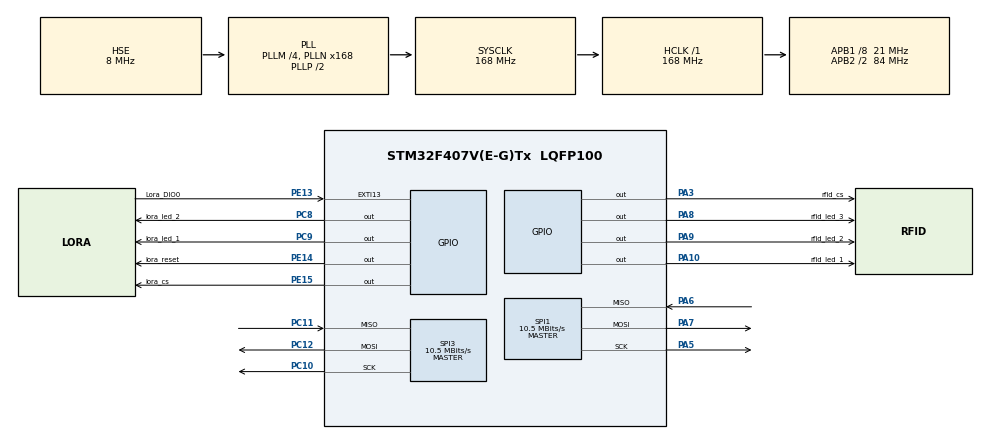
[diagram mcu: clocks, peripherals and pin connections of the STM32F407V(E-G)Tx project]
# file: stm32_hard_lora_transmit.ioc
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Mcu.Family=STM32F4
Mcu.Name=STM32F407V(E-G)Tx
Mcu.Package=LQFP100
NVIC.PriorityGroup=NVIC_PRIORITYGROUP_0
NVIC.TIM2_IRQn=true\:0\:0\:false\:false\:true\:true\:true
PA10.GPIO_Label=rfid_led_1
PA10.Signal=GPIO_Output
PA13.Mode=Serial_Wire
PA13.Signal=SYS_JTMS-SWDIO
PA14.Mode=Serial_Wire
PA14.Signal=SYS_JTCK-SWCLK
PA3.GPIO_Label=rfid_cs
PA3.Signal=GPIO_Output
PA5.Mode=Full_Duplex_Master
PA5.Signal=SPI1_SCK
PA6.Mode=Full_Duplex_Master
PA6.Signal=SPI1_MISO
PA7.Mode=Full_Duplex_Master
PA7.Signal=SPI1_MOSI
PA8.GPIO_Label=rfid_led_3
PA8.Signal=GPIO_Output
PA9.GPIO_Label=rfid_led_2
PA9.Signal=GPIO_Output
PC10.Mode=Full_Duplex_Master
PC10.Signal=SPI3_SCK
PC11.Mode=Full_Duplex_Master
PC11.Signal=SPI3_MISO
PC12.Mode=Full_Duplex_Master
PC12.Signal=SPI3_MOSI
PC14-OSC32_IN.Mode=LSE-External-Clock-Source
PC14-OSC32_IN.Signal=RCC_OSC32_IN
PC15-OSC32_OUT.Mode=LSE-External-Clock-Source
PC15-OSC32_OUT.Signal=RCC_OSC32_OUT
PC8.GPIO_Label=lora_led_2
PC8.Signal=GPIO_Output
PC9.GPIO_Label=lora_led_1
PC9.Signal=GPIO_Output
PE13.GPIO_Label=Lora_DIO0
PE13.Signal=GPXTI13
PE14.GPIO_Label=lora_reset
PE14.Signal=GPIO_Output
PE15.GPIO_Label=lora_cs
PE15.Signal=GPIO_Output
PH0-OSC_IN.Mode=HSE-External-Clock-Source
PH0-OSC_IN.Signal=RCC_OSC_IN
PH1-OSC_OUT.Mode=HSE-External-Clock-Source
PH1-OSC_OUT.Signal=RCC_OSC_OUT
ProjectManager.HeapSize=0x200
ProjectManager.StackSize=0x400
ProjectManager.TargetToolchain=STM32CubeIDE
RCC.48MHZClocksFreq_Value=48000000
RCC.AHBFreq_Value=168000000
RCC.APB1CLKDivider=RCC_HCLK_DIV8
RCC.APB1Freq_Value=21000000
RCC.APB1TimFreq_Value=42000000
RCC.APB2CLKDivider=RCC_HCLK_DIV2
RCC.APB2Freq_Value=84000000
RCC.APB2TimFreq_Value=168000000
RCC.CortexFreq_Value=168000000
RCC.HCLKFreq_Value=168000000
RCC.HSE_VALUE=8000000
RCC.HSI_VALUE=16000000
RCC.LSE_VALUE=32768
RCC.PLLM=4
RCC.PLLN=168
RCC.PLLQ=7
RCC.PLLSourceVirtual=RCC_PLLSOURCE_HSE
RCC.SYSCLKFreq_VALUE=168000000
RCC.SYSCLKSource=RCC_SYSCLKSOURCE_PLLCLK
RCC.VCOOutputFreq_Value=336000000
SPI1.BaudRatePrescaler=SPI_BAUDRATEPRESCALER_8
SPI1.CalculateBaudRate=10.5 MBits/s
SPI1.Direction=SPI_DIRECTION_2LINES
SPI1.Mode=SPI_MODE_MASTER
SPI1.VirtualType=VM_MASTER
SPI3.BaudRatePrescaler=SPI_BAUDRATEPRESCALER_2
SPI3.CalculateBaudRate=10.5 MBits/s
SPI3.Direction=SPI_DIRECTION_2LINES
SPI3.Mode=SPI_MODE_MASTER
SPI3.VirtualType=VM_MASTER
TIM2.Period=250
TIM2.Prescaler=42000
VP_TIM2_VS_ClockSourceINT.Mode=Internal
board=STM32F407G-DISC1

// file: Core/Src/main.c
/* USER CODE BEGIN Header */
/**
 ******************************************************************************
 * @file           : main.c
 * @brief          : Main program body
 ******************************************************************************
 * @attention
 *
 * <h2><center>&copy; Copyright (c) 2021 STMicroelectronics.
 * All rights reserved.</center></h2>
 *
 * This software component is licensed by ST under Ultimate Liberty license
 * SLA0044, the "License"; You may not use this file except in compliance with
 * the License. You may obtain a copy of the License at:
 *                             www.st.com/SLA0044
 *
 ******************************************************************************
 */
/* USER CODE END Header */
#include "main.h"

/* USER CODE BEGIN Includes */
#include "LoRa_Config.h"
/* USER CODE END Includes */

SPI_HandleTypeDef hspi1;
SPI_HandleTypeDef hspi3;

TIM_HandleTypeDef htim2;

/* USER CODE BEGIN PV */
MFRC522_HandleTypeDef MFRC522_Handle;
LoRa_Transceiver_Handle LoRa_Transceiver_Handle_1;
LoRa myLoRa;

/* USER CODE END PV */

void SystemClock_Config(void);
static void MX_GPIO_Init(void);
static void MX_SPI1_Init(void);
static void MX_SPI3_Init(void);
static void MX_TIM2_Init(void);

/* USER CODE BEGIN 0 */
uint8_t OK;
uint8_t errorRate = 0;
uint8_t trueRate = 0;
/* USER CODE END 0 */

int main(void) {

	/* MCU Configuration--------------------------------------------------------*/

	/* Reset of all peripherals, Initializes the Flash interface and the Systick. */
	HAL_Init();

	/* Configure the system clock */
	SystemClock_Config();

	/* Initialize all configured peripherals */
	MX_GPIO_Init();
	MX_SPI1_Init();
	MX_SPI3_Init();
	MX_TIM2_Init();
	/* USER CODE BEGIN 2 */

	myLoRa = newLoRa();
	myLoRa.CS_port = GPIOE;
	myLoRa.CS_pin = GPIO_PIN_15;
	myLoRa.reset_port = GPIOE;
	myLoRa.reset_pin = GPIO_PIN_14;
	myLoRa.DIO0_port = GPIOE;
	myLoRa.DIO0_pin = GPIO_PIN_13;
	myLoRa.hSPIx = &hspi3;
	myLoRa.frequency = 868;             // default = 433 MHz
	myLoRa.spredingFactor = SF_7;            // default = SF_7
	myLoRa.bandWidth = BW_125KHz;       // default = BW_125KHz
	myLoRa.crcRate = CR_4_5;          // default = CR_4_5
	myLoRa.power = POWER_20db;      // default = 20db
	myLoRa.overCurrentProtection = 100;             // default = 100 mA
	myLoRa.preamble = 8;              // default = 8;

	LoRa_reset(&myLoRa);
	LoRa_init(&myLoRa);
	MFRC522_Init();
	MFRC522_ResetLedState();
	MFRC522_SetTargetID(&MFRC522_Handle);
	HAL_TIM_Base_Start_IT(&htim2);

	/* USER CODE END 2 */

	/* Infinite loop */
	while (1) {

	}
}

void SystemClock_Config(void) {
	RCC_OscInitTypeDef RCC_OscInitStruct = { 0 };
	RCC_ClkInitTypeDef RCC_ClkInitStruct = { 0 };

	/** Configure the main internal regulator output voltage
	 */
	__HAL_RCC_PWR_CLK_ENABLE();
	__HAL_PWR_VOLTAGESCALING_CONFIG(PWR_REGULATOR_VOLTAGE_SCALE1);
	/** Initializes the RCC Oscillators according to the specified parameters
	 * in the RCC_OscInitTypeDef structure.
	 */
	RCC_OscInitStruct.OscillatorType = RCC_OSCILLATORTYPE_HSE;
	RCC_OscInitStruct.HSEState = RCC_HSE_BYPASS;
	RCC_OscInitStruct.PLL.PLLState = RCC_PLL_ON;
	RCC_OscInitStruct.PLL.PLLSource = RCC_PLLSOURCE_HSE;
	RCC_OscInitStruct.PLL.PLLM = 4;
	RCC_OscInitStruct.PLL.PLLN = 168;
	RCC_OscInitStruct.PLL.PLLP = RCC_PLLP_DIV2;
	RCC_OscInitStruct.PLL.PLLQ = 7;
	if (HAL_RCC_OscConfig(&RCC_OscInitStruct) != HAL_OK) {
		Error_Handler();
	}
	/** Initializes the CPU, AHB and APB buses clocks
	 */
	RCC_ClkInitStruct.ClockType = RCC_CLOCKTYPE_HCLK | RCC_CLOCKTYPE_SYSCLK
			| RCC_CLOCKTYPE_PCLK1 | RCC_CLOCKTYPE_PCLK2;
	RCC_ClkInitStruct.SYSCLKSource = RCC_SYSCLKSOURCE_PLLCLK;
	RCC_ClkInitStruct.AHBCLKDivider = RCC_SYSCLK_DIV1;
	RCC_ClkInitStruct.APB1CLKDivider = RCC_HCLK_DIV8;
	RCC_ClkInitStruct.APB2CLKDivider = RCC_HCLK_DIV2;

	if (HAL_RCC_ClockConfig(&RCC_ClkInitStruct, FLASH_LATENCY_5) != HAL_OK) {
		Error_Handler();
	}
}

static void MX_SPI1_Init(void) {

	/* SPI1 parameter configuration*/
	hspi1.Instance = SPI1;
	hspi1.Init.Mode = SPI_MODE_MASTER;
	hspi1.Init.Direction = SPI_DIRECTION_2LINES;
	hspi1.Init.DataSize = SPI_DATASIZE_8BIT;
	hspi1.Init.CLKPolarity = SPI_POLARITY_LOW;
	hspi1.Init.CLKPhase = SPI_PHASE_1EDGE;
	hspi1.Init.NSS = SPI_NSS_SOFT;
	hspi1.Init.BaudRatePrescaler = SPI_BAUDRATEPRESCALER_8;
	hspi1.Init.FirstBit = SPI_FIRSTBIT_MSB;
	hspi1.Init.TIMode = SPI_TIMODE_DISABLE;
	hspi1.Init.CRCCalculation = SPI_CRCCALCULATION_DISABLE;
	hspi1.Init.CRCPolynomial = 10;
	if (HAL_SPI_Init(&hspi1) != HAL_OK) {
		Error_Handler();
	}

}

static void MX_SPI3_Init(void) {

	/* SPI3 parameter configuration*/
	hspi3.Instance = SPI3;
	hspi3.Init.Mode = SPI_MODE_MASTER;
	hspi3.Init.Direction = SPI_DIRECTION_2LINES;
	hspi3.Init.DataSize = SPI_DATASIZE_8BIT;
	hspi3.Init.CLKPolarity = SPI_POLARITY_LOW;
	hspi3.Init.CLKPhase = SPI_PHASE_1EDGE;
	hspi3.Init.NSS = SPI_NSS_SOFT;
	hspi3.Init.BaudRatePrescaler = SPI_BAUDRATEPRESCALER_2;
	hspi3.Init.FirstBit = SPI_FIRSTBIT_MSB;
	hspi3.Init.TIMode = SPI_TIMODE_DISABLE;
	hspi3.Init.CRCCalculation = SPI_CRCCALCULATION_DISABLE;
	hspi3.Init.CRCPolynomial = 10;
	if (HAL_SPI_Init(&hspi3) != HAL_OK) {
		Error_Handler();
	}

}

static void MX_TIM2_Init(void) {

	TIM_ClockConfigTypeDef sClockSourceConfig = { 0 };
	TIM_MasterConfigTypeDef sMasterConfig = { 0 };

	htim2.Instance = TIM2;
	htim2.Init.Prescaler = 42000;
	htim2.Init.CounterMode = TIM_COUNTERMODE_UP;
	htim2.Init.Period = 250;
	htim2.Init.ClockDivision = TIM_CLOCKDIVISION_DIV1;
	htim2.Init.AutoReloadPreload = TIM_AUTORELOAD_PRELOAD_DISABLE;
	if (HAL_TIM_Base_Init(&htim2) != HAL_OK) {
		Error_Handler();
	}
	sClockSourceConfig.ClockSource = TIM_CLOCKSOURCE_INTERNAL;
	if (HAL_TIM_ConfigClockSource(&htim2, &sClockSourceConfig) != HAL_OK) {
		Error_Handler();
	}
	sMasterConfig.MasterOutputTrigger = TIM_TRGO_RESET;
	sMasterConfig.MasterSlaveMode = TIM_MASTERSLAVEMODE_DISABLE;
	if (HAL_TIMEx_MasterConfigSynchronization(&htim2, &sMasterConfig)
			!= HAL_OK) {
		Error_Handler();
	}

}

static void MX_GPIO_Init(void) {
	GPIO_InitTypeDef GPIO_InitStruct = { 0 };

	/* GPIO Ports Clock Enable */
	__HAL_RCC_GPIOC_CLK_ENABLE();
	__HAL_RCC_GPIOH_CLK_ENABLE();
	__HAL_RCC_GPIOA_CLK_ENABLE();
	__HAL_RCC_GPIOE_CLK_ENABLE();

	/*Configure GPIO pin Output Level */
	HAL_GPIO_WritePin(GPIOA,
			rfid_cs_Pin | rfid_led_3_Pin | rfid_led_2_Pin | rfid_led_1_Pin,
			GPIO_PIN_RESET);

	/*Configure GPIO pin Output Level */
	HAL_GPIO_WritePin(GPIOE, lora_reset_Pin | lora_cs_Pin, GPIO_PIN_RESET);

	/*Configure GPIO pin Output Level */
	HAL_GPIO_WritePin(GPIOC, lora_led_2_Pin | lora_led_1_Pin, GPIO_PIN_RESET);

	/*Configure GPIO pins : rfid_cs_Pin rfid_led_3_Pin rfid_led_2_Pin rfid_led_1_Pin */
	GPIO_InitStruct.Pin = rfid_cs_Pin | rfid_led_3_Pin | rfid_led_2_Pin
			| rfid_led_1_Pin;
	GPIO_InitStruct.Mode = GPIO_MODE_OUTPUT_PP;
	GPIO_InitStruct.Pull = GPIO_NOPULL;
	GPIO_InitStruct.Speed = GPIO_SPEED_FREQ_LOW;
	HAL_GPIO_Init(GPIOA, &GPIO_InitStruct);

	/*Configure GPIO pin : Lora_DIO0_Pin */
	GPIO_InitStruct.Pin = Lora_DIO0_Pin;
	GPIO_InitStruct.Mode = GPIO_MODE_IT_RISING;
	GPIO_InitStruct.Pull = GPIO_NOPULL;
	HAL_GPIO_Init(Lora_DIO0_GPIO_Port, &GPIO_InitStruct);

	/*Configure GPIO pins : lora_reset_Pin lora_cs_Pin */
	GPIO_InitStruct.Pin = lora_reset_Pin | lora_cs_Pin;
	GPIO_InitStruct.Mode = GPIO_MODE_OUTPUT_PP;
	GPIO_InitStruct.Pull = GPIO_NOPULL;
	GPIO_InitStruct.Speed = GPIO_SPEED_FREQ_LOW;
	HAL_GPIO_Init(GPIOE, &GPIO_InitStruct);

	/*Configure GPIO pins : lora_led_2_Pin lora_led_1_Pin */
	GPIO_InitStruct.Pin = lora_led_2_Pin | lora_led_1_Pin;
	GPIO_InitStruct.Mode = GPIO_MODE_OUTPUT_PP;
	GPIO_InitStruct.Pull = GPIO_NOPULL;
	GPIO_InitStruct.Speed = GPIO_SPEED_FREQ_LOW;
	HAL_GPIO_Init(GPIOC, &GPIO_InitStruct);

}

/* USER CODE BEGIN 4 */
void HAL_TIM_PeriodElapsedCallback(TIM_HandleTypeDef *htim) {

	MFRC522_ResetCounter(&MFRC522_Handle);
//	MFRC522_ResetLedState();
	MFRC522_SearchTag(&MFRC522_Handle);
	OK = MFRC522_DetectTargetTag(&MFRC522_Handle);
	send_data[0] = 19; //myPassword
	send_data[1] = 07;

	if (OK == 1) {
		for (int m = 0; m < 5; m++) {
			send_data[m+2] = MFRC522_Handle.detectedID[m];
		}

	} else {
		for (int m = 0; m < 5; m++) {
			send_data[m+2] = 0;
		}
	}
	LoRa_WakeUp_Transmit(&myLoRa);
	do {
		transmitOK = LoRa_transmit(&myLoRa, send_data, 7, 100);
	} while (transmitOK != 1);
	HAL_GPIO_TogglePin(lora_led_2_GPIO_Port, lora_led_2_Pin);
	trueRate++;
	LoRa_Sleep(&myLoRa);

}
/* USER CODE END 4 */

void Error_Handler(void) {
	__disable_irq();
	while (1) {
	}
}

/************************ (C) COPYRIGHT STMicroelectronics *****END OF FILE****/
